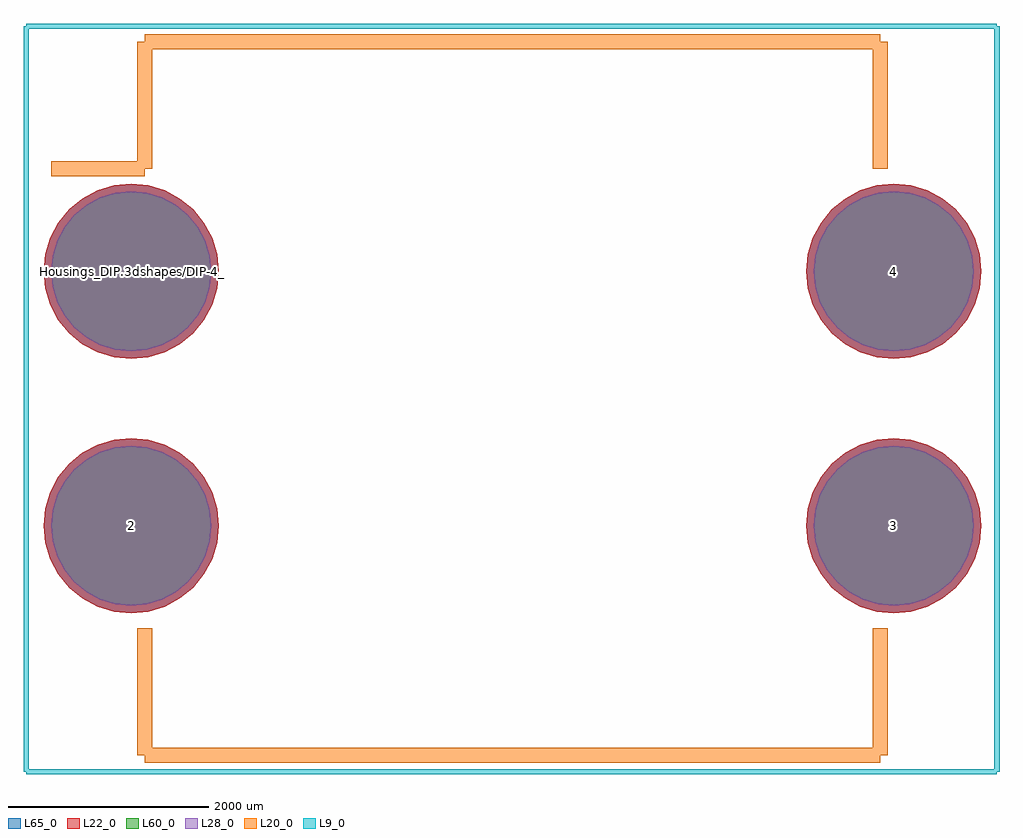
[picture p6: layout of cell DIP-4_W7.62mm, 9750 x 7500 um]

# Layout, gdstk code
import gdstk
lib = gdstk.Library(unit=1e-6, precision=1e-09)
def P(c, l, *ps):  # polygons
    for p in ps: c.add(gdstk.Polygon(p, *l))
L9_0 = (9, 0)
L20_0 = (20, 0)
L22_0 = (22, 0)
L28_0 = (28, 0)
L60_0 = (60, 0)
L65_0 = (65, 0)

dip_4_w7_62mm = lib.new_cell('DIP-4_W7.62mm')
P(dip_4_w7_62mm, L22_0, [(8495,0),(8478.187,170.704),(8428.395,334.848),(8347.536,486.124),(8238.718,618.718),(8106.124,727.536),(7954.848,808.395),(7790.704,858.187),(7620,875),(7449.296,858.187),(7285.152,808.395),(7133.876,727.536),(7001.282,618.718),(6892.464,486.124),(6811.605,334.848),(6761.813,170.704),(6745,0),(6761.813,-170.704),(6811.605,-334.848),(6892.464,-486.124),(7001.282,-618.718),(7133.876,-727.536),(7285.152,-808.395),(7449.296,-858.187),(7620,-875),(7790.704,-858.187),(7954.848,-808.395),(8106.124,-727.536),(8238.718,-618.718),(8347.536,-486.124),(8428.395,-334.848),(8478.187,-170.704)],
  [(8495,-2540),(8478.187,-2369.296),(8428.395,-2205.152),(8347.536,-2053.876),(8238.718,-1921.282),(8106.124,-1812.464),(7954.848,-1731.605),(7790.704,-1681.813),(7620,-1665),(7449.296,-1681.813),(7285.152,-1731.605),(7133.876,-1812.464),(7001.282,-1921.282),(6892.464,-2053.876),(6811.605,-2205.152),(6761.813,-2369.296),(6745,-2540),(6761.813,-2710.704),(6811.605,-2874.848),(6892.464,-3026.124),(7001.282,-3158.718),(7133.876,-3267.536),(7285.152,-3348.395),(7449.296,-3398.187),(7620,-3415),(7790.704,-3398.187),(7954.848,-3348.395),(8106.124,-3267.536),(8238.718,-3158.718),(8347.536,-3026.124),(8428.395,-2874.848),(8478.187,-2710.704)],
  [(875,-2540),(858.187,-2369.296),(808.395,-2205.152),(727.536,-2053.876),(618.718,-1921.282),(486.124,-1812.464),(334.848,-1731.605),(170.704,-1681.813),(0,-1665),(-170.704,-1681.813),(-334.848,-1731.605),(-486.124,-1812.464),(-618.718,-1921.282),(-727.536,-2053.876),(-808.395,-2205.152),(-858.187,-2369.296),(-875,-2540),(-858.187,-2710.704),(-808.395,-2874.848),(-727.536,-3026.124),(-618.718,-3158.718),(-486.124,-3267.536),(-334.848,-3348.395),(-170.704,-3398.187),(0,-3415),(170.704,-3398.187),(334.848,-3348.395),(486.124,-3267.536),(618.718,-3158.718),(727.536,-3026.124),(808.395,-2874.848),(858.187,-2710.704)],
  [(875,0),(858.187,170.704),(808.395,334.848),(727.536,486.124),(618.718,618.718),(486.124,727.536),(334.848,808.395),(170.704,858.187),(0,875),(-170.704,858.187),(-334.848,808.395),(-486.124,727.536),(-618.718,618.718),(-727.536,486.124),(-808.395,334.848),(-858.187,170.704),(-875,0),(-858.187,-170.704),(-808.395,-334.848),(-727.536,-486.124),(-618.718,-618.718),(-486.124,-727.536),(-334.848,-808.395),(-170.704,-858.187),(0,-875),(170.704,-858.187),(334.848,-808.395),(486.124,-727.536),(618.718,-618.718),(727.536,-486.124),(808.395,-334.848),(858.187,-170.704)])
P(dip_4_w7_62mm, L28_0, [(8420,0),(8404.628,156.072),(8359.104,306.147),(8285.176,444.456),(8185.685,565.685),(8064.456,665.176),(7926.147,739.104),(7776.072,784.628),(7620,800),(7463.928,784.628),(7313.853,739.104),(7175.544,665.176),(7054.315,565.685),(6954.824,444.456),(6880.896,306.147),(6835.372,156.072),(6820,0),(6835.372,-156.072),(6880.896,-306.147),(6954.824,-444.456),(7054.315,-565.685),(7175.544,-665.176),(7313.853,-739.104),(7463.928,-784.628),(7620,-800),(7776.072,-784.628),(7926.147,-739.104),(8064.456,-665.176),(8185.685,-565.685),(8285.176,-444.456),(8359.104,-306.147),(8404.628,-156.072)],
  [(8420,-2540),(8404.628,-2383.928),(8359.104,-2233.853),(8285.176,-2095.544),(8185.685,-1974.315),(8064.456,-1874.824),(7926.147,-1800.896),(7776.072,-1755.372),(7620,-1740),(7463.928,-1755.372),(7313.853,-1800.896),(7175.544,-1874.824),(7054.315,-1974.315),(6954.824,-2095.544),(6880.896,-2233.853),(6835.372,-2383.928),(6820,-2540),(6835.372,-2696.072),(6880.896,-2846.147),(6954.824,-2984.456),(7054.315,-3105.685),(7175.544,-3205.176),(7313.853,-3279.104),(7463.928,-3324.628),(7620,-3340),(7776.072,-3324.628),(7926.147,-3279.104),(8064.456,-3205.176),(8185.685,-3105.685),(8285.176,-2984.456),(8359.104,-2846.147),(8404.628,-2696.072)],
  [(800,-2540),(784.628,-2383.928),(739.104,-2233.853),(665.176,-2095.544),(565.685,-1974.315),(444.456,-1874.824),(306.147,-1800.896),(156.072,-1755.372),(0,-1740),(-156.072,-1755.372),(-306.147,-1800.896),(-444.456,-1874.824),(-565.685,-1974.315),(-665.176,-2095.544),(-739.104,-2233.853),(-784.628,-2383.928),(-800,-2540),(-784.628,-2696.072),(-739.104,-2846.147),(-665.176,-2984.456),(-565.685,-3105.685),(-444.456,-3205.176),(-306.147,-3279.104),(-156.072,-3324.628),(0,-3340),(156.072,-3324.628),(306.147,-3279.104),(444.456,-3205.176),(565.685,-3105.685),(665.176,-2984.456),(739.104,-2846.147),(784.628,-2696.072)],
  [(800,0),(784.628,156.072),(739.104,306.147),(665.176,444.456),(565.685,565.685),(444.456,665.176),(306.147,739.104),(156.072,784.628),(0,800),(-156.072,784.628),(-306.147,739.104),(-444.456,665.176),(-565.685,565.685),(-665.176,444.456),(-739.104,306.147),(-784.628,156.072),(-800,0),(-784.628,-156.072),(-739.104,-306.147),(-665.176,-444.456),(-565.685,-565.685),(-444.456,-665.176),(-306.147,-739.104),(-156.072,-784.628),(0,-800),(156.072,-784.628),(306.147,-739.104),(444.456,-665.176),(565.685,-565.685),(665.176,-444.456),(739.104,-306.147),(784.628,-156.072)])
P(dip_4_w7_62mm, L60_0, [(8420,0),(8404.628,156.072),(8359.104,306.147),(8285.176,444.456),(8185.685,565.685),(8064.456,665.176),(7926.147,739.104),(7776.072,784.628),(7620,800),(7463.928,784.628),(7313.853,739.104),(7175.544,665.176),(7054.315,565.685),(6954.824,444.456),(6880.896,306.147),(6835.372,156.072),(6820,0),(6835.372,-156.072),(6880.896,-306.147),(6954.824,-444.456),(7054.315,-565.685),(7175.544,-665.176),(7313.853,-739.104),(7463.928,-784.628),(7620,-800),(7776.072,-784.628),(7926.147,-739.104),(8064.456,-665.176),(8185.685,-565.685),(8285.176,-444.456),(8359.104,-306.147),(8404.628,-156.072)],
  [(8420,-2540),(8404.628,-2383.928),(8359.104,-2233.853),(8285.176,-2095.544),(8185.685,-1974.315),(8064.456,-1874.824),(7926.147,-1800.896),(7776.072,-1755.372),(7620,-1740),(7463.928,-1755.372),(7313.853,-1800.896),(7175.544,-1874.824),(7054.315,-1974.315),(6954.824,-2095.544),(6880.896,-2233.853),(6835.372,-2383.928),(6820,-2540),(6835.372,-2696.072),(6880.896,-2846.147),(6954.824,-2984.456),(7054.315,-3105.685),(7175.544,-3205.176),(7313.853,-3279.104),(7463.928,-3324.628),(7620,-3340),(7776.072,-3324.628),(7926.147,-3279.104),(8064.456,-3205.176),(8185.685,-3105.685),(8285.176,-2984.456),(8359.104,-2846.147),(8404.628,-2696.072)],
  [(800,-2540),(784.628,-2383.928),(739.104,-2233.853),(665.176,-2095.544),(565.685,-1974.315),(444.456,-1874.824),(306.147,-1800.896),(156.072,-1755.372),(0,-1740),(-156.072,-1755.372),(-306.147,-1800.896),(-444.456,-1874.824),(-565.685,-1974.315),(-665.176,-2095.544),(-739.104,-2233.853),(-784.628,-2383.928),(-800,-2540),(-784.628,-2696.072),(-739.104,-2846.147),(-665.176,-2984.456),(-565.685,-3105.685),(-444.456,-3205.176),(-306.147,-3279.104),(-156.072,-3324.628),(0,-3340),(156.072,-3324.628),(306.147,-3279.104),(444.456,-3205.176),(565.685,-3105.685),(665.176,-2984.456),(739.104,-2846.147),(784.628,-2696.072)],
  [(800,0),(784.628,156.072),(739.104,306.147),(665.176,444.456),(565.685,565.685),(444.456,665.176),(306.147,739.104),(156.072,784.628),(0,800),(-156.072,784.628),(-306.147,739.104),(-444.456,665.176),(-565.685,565.685),(-665.176,444.456),(-739.104,306.147),(-784.628,156.072),(-800,0),(-784.628,-156.072),(-739.104,-306.147),(-665.176,-444.456),(-565.685,-565.685),(-444.456,-665.176),(-306.147,-739.104),(-156.072,-784.628),(0,-800),(156.072,-784.628),(306.147,-739.104),(444.456,-665.176),(565.685,-565.685),(665.176,-444.456),(739.104,-306.147),(784.628,-156.072)])
P(dip_4_w7_62mm, L65_0, [(8495,0),(8478.187,170.704),(8428.395,334.848),(8347.536,486.124),(8238.718,618.718),(8106.124,727.536),(7954.848,808.395),(7790.704,858.187),(7620,875),(7449.296,858.187),(7285.152,808.395),(7133.876,727.536),(7001.282,618.718),(6892.464,486.124),(6811.605,334.848),(6761.813,170.704),(6745,0),(6761.813,-170.704),(6811.605,-334.848),(6892.464,-486.124),(7001.282,-618.718),(7133.876,-727.536),(7285.152,-808.395),(7449.296,-858.187),(7620,-875),(7790.704,-858.187),(7954.848,-808.395),(8106.124,-727.536),(8238.718,-618.718),(8347.536,-486.124),(8428.395,-334.848),(8478.187,-170.704)],
  [(8495,-2540),(8478.187,-2369.296),(8428.395,-2205.152),(8347.536,-2053.876),(8238.718,-1921.282),(8106.124,-1812.464),(7954.848,-1731.605),(7790.704,-1681.813),(7620,-1665),(7449.296,-1681.813),(7285.152,-1731.605),(7133.876,-1812.464),(7001.282,-1921.282),(6892.464,-2053.876),(6811.605,-2205.152),(6761.813,-2369.296),(6745,-2540),(6761.813,-2710.704),(6811.605,-2874.848),(6892.464,-3026.124),(7001.282,-3158.718),(7133.876,-3267.536),(7285.152,-3348.395),(7449.296,-3398.187),(7620,-3415),(7790.704,-3398.187),(7954.848,-3348.395),(8106.124,-3267.536),(8238.718,-3158.718),(8347.536,-3026.124),(8428.395,-2874.848),(8478.187,-2710.704)],
  [(875,-2540),(858.187,-2369.296),(808.395,-2205.152),(727.536,-2053.876),(618.718,-1921.282),(486.124,-1812.464),(334.848,-1731.605),(170.704,-1681.813),(0,-1665),(-170.704,-1681.813),(-334.848,-1731.605),(-486.124,-1812.464),(-618.718,-1921.282),(-727.536,-2053.876),(-808.395,-2205.152),(-858.187,-2369.296),(-875,-2540),(-858.187,-2710.704),(-808.395,-2874.848),(-727.536,-3026.124),(-618.718,-3158.718),(-486.124,-3267.536),(-334.848,-3348.395),(-170.704,-3398.187),(0,-3415),(170.704,-3398.187),(334.848,-3348.395),(486.124,-3267.536),(618.718,-3158.718),(727.536,-3026.124),(808.395,-2874.848),(858.187,-2710.704)],
  [(875,0),(858.187,170.704),(808.395,334.848),(727.536,486.124),(618.718,618.718),(486.124,727.536),(334.848,808.395),(170.704,858.187),(0,875),(-170.704,858.187),(-334.848,808.395),(-486.124,727.536),(-618.718,618.718),(-727.536,486.124),(-808.395,334.848),(-858.187,170.704),(-875,0),(-858.187,-170.704),(-808.395,-334.848),(-727.536,-486.124),(-618.718,-618.718),(-486.124,-727.536),(-334.848,-808.395),(-170.704,-858.187),(0,-875),(170.704,-858.187),(334.848,-808.395),(486.124,-727.536),(618.718,-618.718),(727.536,-486.124),(808.395,-334.848),(858.187,-170.704)])
dip_4_w7_62mm.add(gdstk.FlexPath([(135,1025),(-800,1025)], 149.998, ends="flush", simple_path=True, layer=20, datatype=0))  # L20_0
dip_4_w7_62mm.add(gdstk.FlexPath([(135,-4835),(7485,-4835)], 149.998, ends="flush", simple_path=True, layer=20, datatype=0))  # L20_0
dip_4_w7_62mm.add(gdstk.FlexPath([(135,2295),(7485,2295)], 149.998, ends="flush", simple_path=True, layer=20, datatype=0))  # L20_0
dip_4_w7_62mm.add(gdstk.FlexPath([(135,-4835),(135,-3565)], 149.998, ends="flush", simple_path=True, layer=20, datatype=0))  # L20_0
dip_4_w7_62mm.add(gdstk.FlexPath([(7485,-4835),(7485,-3565)], 149.998, ends="flush", simple_path=True, layer=20, datatype=0))  # L20_0
dip_4_w7_62mm.add(gdstk.FlexPath([(7485,2295),(7485,1025)], 149.998, ends="flush", simple_path=True, layer=20, datatype=0))  # L20_0
dip_4_w7_62mm.add(gdstk.FlexPath([(135,2295),(135,1025)], 149.998, ends="flush", simple_path=True, layer=20, datatype=0))  # L20_0
dip_4_w7_62mm.add(gdstk.FlexPath([(-1050,-5000),(8650,-5000)], 50, ends="flush", simple_path=True, layer=9, datatype=0))  # L9_0
dip_4_w7_62mm.add(gdstk.FlexPath([(-1050,2450),(8650,2450)], 50, ends="flush", simple_path=True, layer=9, datatype=0))  # L9_0
dip_4_w7_62mm.add(gdstk.FlexPath([(8650,2450),(8650,-5000)], 50, ends="flush", simple_path=True, layer=9, datatype=0))  # L9_0
dip_4_w7_62mm.add(gdstk.FlexPath([(-1050,2450),(-1050,-5000)], 50, ends="flush", simple_path=True, layer=9, datatype=0))  # L9_0
dip_4_w7_62mm.add(gdstk.Label('Housings_DIP.3dshapes/DIP-4_W7.62mm.wrl', (0,0), layer=12, texttype=0))
dip_4_w7_62mm.add(gdstk.Label('4', (7620,0), layer=28, texttype=0))
dip_4_w7_62mm.add(gdstk.Label('3', (7620,-2540), layer=28, texttype=0))
dip_4_w7_62mm.add(gdstk.Label('2', (0,-2540), layer=28, texttype=0))
dip_4_w7_62mm.add(gdstk.Label('1', (0,0), layer=28, texttype=0))
dip_4_w7_62mm.add(gdstk.Label('type', (0,3720), layer=9, texttype=0))
dip_4_w7_62mm.add(gdstk.Label('devicename', (0,5220), layer=9, texttype=0))

lib.write_gds('DIP-4_W7.62mm.gds')
